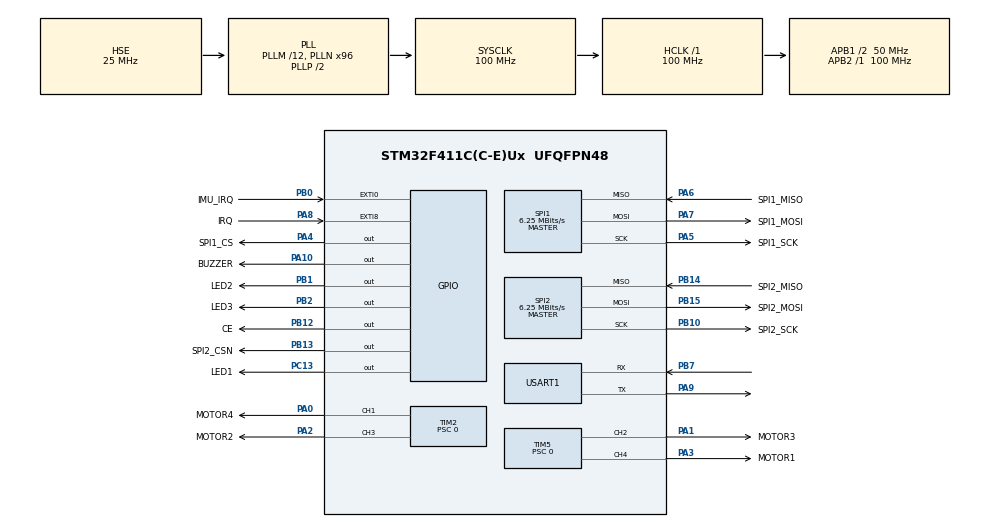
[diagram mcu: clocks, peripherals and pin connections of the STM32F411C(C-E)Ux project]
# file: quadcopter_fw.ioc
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Mcu.Family=STM32F4
Dma.TIM2_CH1.0.MemInc=DMA_MINC_ENABLE
Dma.TIM5_CH4/TRIG.3.FIFOThreshold=DMA_FIFO_THRESHOLD_1QUARTERFULL
PA6.Mode=Full_Duplex_Master
RCC.CortexFreq_Value=100000000
Dma.TIM5_CH2.2.MemInc=DMA_MINC_ENABLE
SPI1.VirtualType=VM_MASTER
SPI2.VirtualType=VM_MASTER
PB10.Mode=Full_Duplex_Master
Dma.TIM5_CH2.2.Instance=DMA1_Stream4
PB14.GPIO_Label=SPI2_MISO
Dma.TIM5_CH4/TRIG.3.PeriphBurst=DMA_PBURST_SINGLE
SH.S_TIM5_CH2.0=TIM5_CH2,PWM Generation2 CH2
PA6.GPIO_Label=SPI1_MISO
PB0.GPIO_Label=IMU_IRQ
Dma.TIM2_CH1.0.Instance=DMA1_Stream5
PB13.GPIO_Label=SPI2_CSN
NVIC.DMA1_Stream4_IRQn=true\:0\:0\:false\:false\:true\:false\:true
PB13.Signal=GPIO_Output
PB15.Signal=SPI2_MOSI
RCC.SYSCLKSource=RCC_SYSCLKSOURCE_PLLCLK
ProjectManager.StackSize=0x400
Dma.TIM5_CH2.2.Mode=DMA_NORMAL
Dma.TIM5_CH2.2.FIFOMode=DMA_FIFOMODE_ENABLE
Dma.TIM2_CH3/UP.1.MemBurst=DMA_MBURST_SINGLE
SPI1.CLKPolarity=SPI_POLARITY_HIGH
Dma.TIM5_CH2.2.PeriphInc=DMA_PINC_DISABLE
PH0\ -\ OSC_IN.Signal=RCC_OSC_IN
SPI1.Direction=SPI_DIRECTION_2LINES
Dma.TIM5_CH4/TRIG.3.FIFOMode=DMA_FIFOMODE_ENABLE
RCC.HCLKFreq_Value=100000000
Dma.USART1_RX.4.MemDataAlignment=DMA_MDATAALIGN_BYTE
RCC.APB2TimFreq_Value=100000000
VP_TIM10_VS_ClockSourceINT.Mode=Enable_Timer
Dma.TIM5_CH4/TRIG.3.Instance=DMA1_Stream3
PB12.PinState=GPIO_PIN_RESET
SPI1.CalculateBaudRate=6.25 MBits/s
RCC.AHBFreq_Value=100000000
SPI2.BaudRatePrescaler=SPI_BAUDRATEPRESCALER_8
RCC.HSE_VALUE=25000000
PB2.Signal=GPIO_Output
PC13-ANTI_TAMP.Signal=GPIO_Output
PA4.GPIO_Speed=GPIO_SPEED_FREQ_HIGH
PB12.GPIO_Label=CE
PB0.GPIO_ModeDefaultEXTI=GPIO_MODE_IT_FALLING
Dma.USART1_RX.4.Instance=DMA2_Stream2
PC14-OSC32_IN.Mode=LSE-External-Oscillator
TIM5.Channel-PWM\ Generation4\ CH4=TIM_CHANNEL_4
PA14.Mode=Serial_Wire
PB14.Mode=Full_Duplex_Master
PB1.GPIO_Label=LED2
PA10.GPIO_Label=BUZZER
SPI2.CalculateBaudRate=6.25 MBits/s
PB7.Signal=USART1_RX
Dma.TIM5_CH4/TRIG.3.MemBurst=DMA_MBURST_SINGLE
PA8.Signal=GPXTI8
TIM2.Channel-PWM\ Generation1\ CH1=TIM_CHANNEL_1
Dma.TIM2_CH1.0.FIFOThreshold=DMA_FIFO_THRESHOLD_1QUARTERFULL
Dma.TIM5_CH2.2.PeriphDataAlignment=DMA_PDATAALIGN_WORD
Dma.TIM2_CH3/UP.1.PeriphBurst=DMA_PBURST_SINGLE
Dma.TIM5_CH2.2.Direction=DMA_MEMORY_TO_PERIPH
Mcu.Package=UFQFPN48
TIM2.Prescaler=0
PB1.Signal=GPIO_Output
PA6.Signal=SPI1_MISO
Dma.TIM2_CH1.0.FIFOMode=DMA_FIFOMODE_ENABLE
SPI2.Mode=SPI_MODE_MASTER
Dma.TIM2_CH3/UP.1.MemDataAlignment=DMA_MDATAALIGN_WORD
PA8.GPIO_ModeDefaultEXTI=GPIO_MODE_IT_FALLING
Dma.TIM5_CH4/TRIG.3.Priority=DMA_PRIORITY_VERY_HIGH
Dma.USART1_RX.4.Direction=DMA_PERIPH_TO_MEMORY
PA2.GPIO_Label=MOTOR2
PA10.Signal=GPIO_Output
Dma.TIM5_CH4/TRIG.3.Mode=DMA_NORMAL
Dma.TIM2_CH1.0.PeriphDataAlignment=DMA_PDATAALIGN_WORD
NVIC.DMA2_Stream2_IRQn=true\:0\:0\:false\:false\:true\:false\:true
Dma.Request2=TIM5_CH2
Dma.Request1=TIM2_CH3/UP
Dma.TIM2_CH3/UP.1.Direction=DMA_MEMORY_TO_PERIPH
RCC.APB1TimFreq_Value=100000000
Dma.Request4=USART1_RX
Dma.TIM2_CH3/UP.1.Priority=DMA_PRIORITY_VERY_HIGH
Dma.Request3=TIM5_CH4/TRIG
Dma.TIM5_CH4/TRIG.3.MemDataAlignment=DMA_MDATAALIGN_WORD
Dma.TIM5_CH4/TRIG.3.Direction=DMA_MEMORY_TO_PERIPH
SPI2.Direction=SPI_DIRECTION_2LINES
Dma.Request0=TIM2_CH1
SPI1.BaudRatePrescaler=SPI_BAUDRATEPRESCALER_16
PA4.GPIO_Label=SPI1_CS
Dma.TIM2_CH1.0.Direction=DMA_MEMORY_TO_PERIPH
PA3.Signal=S_TIM5_CH4
PA5.Mode=Full_Duplex_Master
Dma.TIM2_CH3/UP.1.Instance=DMA1_Stream1
RCC.PLLSourceVirtual=RCC_PLLSOURCE_HSE
TIM10.Prescaler=99
PC15-OSC32_OUT.Mode=LSE-External-Oscillator
Dma.TIM2_CH3/UP.1.MemInc=DMA_MINC_ENABLE
PA7.Mode=Full_Duplex_Master
Dma.TIM2_CH1.0.MemBurst=DMA_MBURST_SINGLE
PC13-ANTI_TAMP.GPIO_Label=LED1
Dma.TIM5_CH2.2.MemDataAlignment=DMA_MDATAALIGN_WORD
PH1\ -\ OSC_OUT.Mode=HSE-External-Oscillator
Dma.USART1_RX.4.Priority=DMA_PRIORITY_LOW
SPI1.CLKPhase=SPI_PHASE_2EDGE
TIM11.Prescaler=99
NVIC.DMA1_Stream1_IRQn=true\:0\:0\:false\:false\:true\:false\:true
Dma.USART1_RX.4.Mode=DMA_CIRCULAR
RCC.APB1CLKDivider=RCC_HCLK_DIV2
PC14-OSC32_IN.Signal=RCC_OSC32_IN
Dma.TIM2_CH3/UP.1.Mode=DMA_NORMAL
Dma.USART1_RX.4.FIFOMode=DMA_FIFOMODE_DISABLE
PC13-ANTI_TAMP.PinState=GPIO_PIN_SET
PA0-WKUP.GPIO_Label=MOTOR4
PA0-WKUP.Signal=S_TIM2_CH1_ETR
VP_TIM11_VS_ClockSourceINT.Mode=Enable_Timer
PA13.Signal=SYS_JTMS-SWDIO
PA9.Mode=Asynchronous
PH0\ -\ OSC_IN.Mode=HSE-External-Oscillator
PA8.GPIO_Label=IRQ
Dma.TIM5_CH4/TRIG.3.PeriphDataAlignment=DMA_PDATAALIGN_WORD
PA4.PinState=GPIO_PIN_SET
ProjectManager.TargetToolchain=STM32CubeIDE
PB10.GPIO_Label=SPI2_SCK
NVIC.DMA1_Stream5_IRQn=true\:0\:0\:false\:false\:true\:false\:true
PA9.Signal=USART1_TX
Dma.TIM2_CH3/UP.1.FIFOMode=DMA_FIFOMODE_ENABLE
PB13.GPIO_Speed=GPIO_SPEED_FREQ_HIGH
Dma.TIM5_CH2.2.MemBurst=DMA_MBURST_SINGLE
PC15-OSC32_OUT.Signal=RCC_OSC32_OUT
PA1.Signal=S_TIM5_CH2
PB12.GPIO_Speed=GPIO_SPEED_FREQ_HIGH
PB10.Signal=SPI2_SCK
PB14.Signal=SPI2_MISO
PA5.Signal=SPI1_SCK
PH1\ -\ OSC_OUT.Signal=RCC_OSC_OUT
board=custom
RCC.VCOOutputFreq_Value=200000000
PB15.Mode=Full_Duplex_Master
Dma.TIM5_CH4/TRIG.3.MemInc=DMA_MINC_ENABLE
TIM11.Period=9999
TIM10.Period=1999
RCC.APB2Freq_Value=100000000
PB13.PinState=GPIO_PIN_SET
Dma.TIM2_CH1.0.Priority=DMA_PRIORITY_VERY_HIGH
PB15.GPIO_Label=SPI2_MOSI
Dma.USART1_RX.4.PeriphDataAlignment=DMA_PDATAALIGN_BYTE
SH.S_TIM2_CH3.0=TIM2_CH3,PWM Generation3 CH3
SPI1.Mode=SPI_MODE_MASTER
PA1.GPIO_Label=MOTOR3
TIM2.Channel-PWM\ Generation3\ CH3=TIM_CHANNEL_3
SH.S_TIM5_CH4.0=TIM5_CH4,PWM Generation4 CH4
TIM2.Period=0
PA13.Mode=Serial_Wire
Dma.TIM2_CH3/UP.1.PeriphDataAlignment=DMA_PDATAALIGN_WORD
Mcu.Name=STM32F411C(C-E)Ux
PA2.Signal=S_TIM2_CH3
Dma.TIM5_CH2.2.PeriphBurst=DMA_PBURST_SINGLE
RCC.48MHZClocksFreq_Value=50000000
NVIC.EXTI0_IRQn=true\:0\:0\:false\:false\:true\:true\:true
TIM5.Channel-PWM\ Generation2\ CH2=TIM_CHANNEL_2
PA4.Signal=GPIO_Output
RCC.SYSCLKFreq_VALUE=100000000
Dma.TIM2_CH1.0.Mode=DMA_NORMAL
PA7.GPIO_Label=SPI1_MOSI
PA5.GPIO_Label=SPI1_SCK
TIM5.Prescaler=0
Dma.TIM2_CH1.0.PeriphBurst=DMA_PBURST_SINGLE
USART1.VirtualMode=VM_ASYNC
PB7.Mode=Asynchronous
SH.S_TIM2_CH1_ETR.0=TIM2_CH1,PWM Generation1 CH1
Dma.TIM2_CH1.0.MemDataAlignment=DMA_MDATAALIGN_WORD
NVIC.EXTI9_5_IRQn=true\:0\:0\:false\:false\:true\:true\:true
PA14.Signal=SYS_JTCK-SWCLK
Dma.TIM2_CH3/UP.1.PeriphInc=DMA_PINC_DISABLE
Dma.USART1_RX.4.MemInc=DMA_MINC_ENABLE
PB2.GPIO_Label=LED3
ProjectManager.HeapSize=0x200
Dma.TIM5_CH4/TRIG.3.PeriphInc=DMA_PINC_DISABLE
RCC.HSI_VALUE=16000000
NVIC.PriorityGroup=NVIC_PRIORITYGROUP_4
Dma.TIM5_CH2.2.Priority=DMA_PRIORITY_VERY_HIGH
RCC.PLLM=12
RCC.PLLN=96
Dma.TIM2_CH3/UP.1.FIFOThreshold=DMA_FIFO_THRESHOLD_1QUARTERFULL
NVIC.DMA1_Stream3_IRQn=true\:0\:0\:false\:false\:true\:false\:true
TIM5.Period=0
Dma.USART1_RX.4.PeriphInc=DMA_PINC_DISABLE
RCC.APB1Freq_Value=50000000
PB0.Signal=GPXTI0
Dma.TIM5_CH2.2.FIFOThreshold=DMA_FIFO_THRESHOLD_1QUARTERFULL
Dma.TIM2_CH1.0.PeriphInc=DMA_PINC_DISABLE
PB12.Signal=GPIO_Output
PA3.GPIO_Label=MOTOR1
PA7.Signal=SPI1_MOSI

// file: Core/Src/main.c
/* USER CODE BEGIN Header */
/**
  ******************************************************************************
  * @file           : main.c
  * @brief          : Main program body
  ******************************************************************************
  * @attention
  *
  * <h2><center>&copy; Copyright (c) 2021 STMicroelectronics.
  * All rights reserved.</center></h2>
  *
  * This software component is licensed by ST under BSD 3-Clause license,
  * the "License"; You may not use this file except in compliance with the
  * License. You may obtain a copy of the License at:
  *                        opensource.org/licenses/BSD-3-Clause
  *
  ******************************************************************************
  */
/* USER CODE END Header */
#include "main.h"
#include "dma.h"
#include "spi.h"
#include "tim.h"
#include "usart.h"
#include "gpio.h"

/* USER CODE BEGIN Includes */

/* standard library */
#include <stdio.h>
#include <math.h>
#include <stdbool.h>

/* private library */
#include "led.h"
#include "timer.h"
#include "interrupt.h"

#include "rc.h"
#include "imu.h"
#include "motor.h"
#include "telemetry.h"

/* USER CODE END Includes */

void SystemClock_Config(void);

/* USER CODE BEGIN 0 */

bool is_quadcopter_ready()
{
	rc_update(&my_rc_command);
	HAL_Delay(10);

	return my_rc_command.start;
}

uint16_t loop_time;

/* USER CODE END 0 */

int main(void)
{

  /* MCU Configuration--------------------------------------------------------*/

  /* Reset of all peripherals, Initializes the Flash interface and the Systick. */
  HAL_Init();

  /* Configure the system clock */
  SystemClock_Config();

  /* Initialize all configured peripherals */
  MX_GPIO_Init();
  MX_DMA_Init();
  MX_SPI1_Init();
  MX_TIM2_Init();
  MX_TIM5_Init();
  MX_TIM11_Init();
  MX_SPI2_Init();
  MX_USART1_UART_Init();
  MX_TIM10_Init();
  /* USER CODE BEGIN 2 */

  timer_init(); // timer for measuring operating time.
  rc_init();
  while(!is_quadcopter_ready());
  imu_init();
  motor_init();
  //telemetry_init();

  /* USER CODE END 2 */

  /* Infinite loop */
  while (1)
  {

    /* USER CODE BEGIN 3 */

	  if(imu_ready) // run control loop depending on imu sampling time
	  {				// ex) imu sampling time = 1.125khz, control loop cycle = 1.125khz
		timer1_start();

		led_green_on(); //control loop start

		rc_update();
		imu_update();
		motor_update();
		//telemetry_update();

		imu_ready = false;
		led_green_off(); //control loop end

		loop_time = timer2_end();
	  }

  }

  /* USER CODE END 3 */
}

void SystemClock_Config(void)
{
  RCC_OscInitTypeDef RCC_OscInitStruct = {0};
  RCC_ClkInitTypeDef RCC_ClkInitStruct = {0};

  /** Configure the main internal regulator output voltage
  */
  __HAL_RCC_PWR_CLK_ENABLE();
  __HAL_PWR_VOLTAGESCALING_CONFIG(PWR_REGULATOR_VOLTAGE_SCALE1);
  /** Initializes the RCC Oscillators according to the specified parameters
  * in the RCC_OscInitTypeDef structure.
  */
  RCC_OscInitStruct.OscillatorType = RCC_OSCILLATORTYPE_HSE;
  RCC_OscInitStruct.HSEState = RCC_HSE_ON;
  RCC_OscInitStruct.PLL.PLLState = RCC_PLL_ON;
  RCC_OscInitStruct.PLL.PLLSource = RCC_PLLSOURCE_HSE;
  RCC_OscInitStruct.PLL.PLLM = 12;
  RCC_OscInitStruct.PLL.PLLN = 96;
  RCC_OscInitStruct.PLL.PLLP = RCC_PLLP_DIV2;
  RCC_OscInitStruct.PLL.PLLQ = 4;
  if (HAL_RCC_OscConfig(&RCC_OscInitStruct) != HAL_OK)
  {
    Error_Handler();
  }
  /** Initializes the CPU, AHB and APB buses clocks
  */
  RCC_ClkInitStruct.ClockType = RCC_CLOCKTYPE_HCLK|RCC_CLOCKTYPE_SYSCLK
                              |RCC_CLOCKTYPE_PCLK1|RCC_CLOCKTYPE_PCLK2;
  RCC_ClkInitStruct.SYSCLKSource = RCC_SYSCLKSOURCE_PLLCLK;
  RCC_ClkInitStruct.AHBCLKDivider = RCC_SYSCLK_DIV1;
  RCC_ClkInitStruct.APB1CLKDivider = RCC_HCLK_DIV2;
  RCC_ClkInitStruct.APB2CLKDivider = RCC_HCLK_DIV1;

  if (HAL_RCC_ClockConfig(&RCC_ClkInitStruct, FLASH_LATENCY_3) != HAL_OK)
  {
    Error_Handler();
  }
}

void Error_Handler(void)
{
  __disable_irq();
  while (1)
  {
  }
}

/************************ (C) COPYRIGHT STMicroelectronics *****END OF FILE****/
